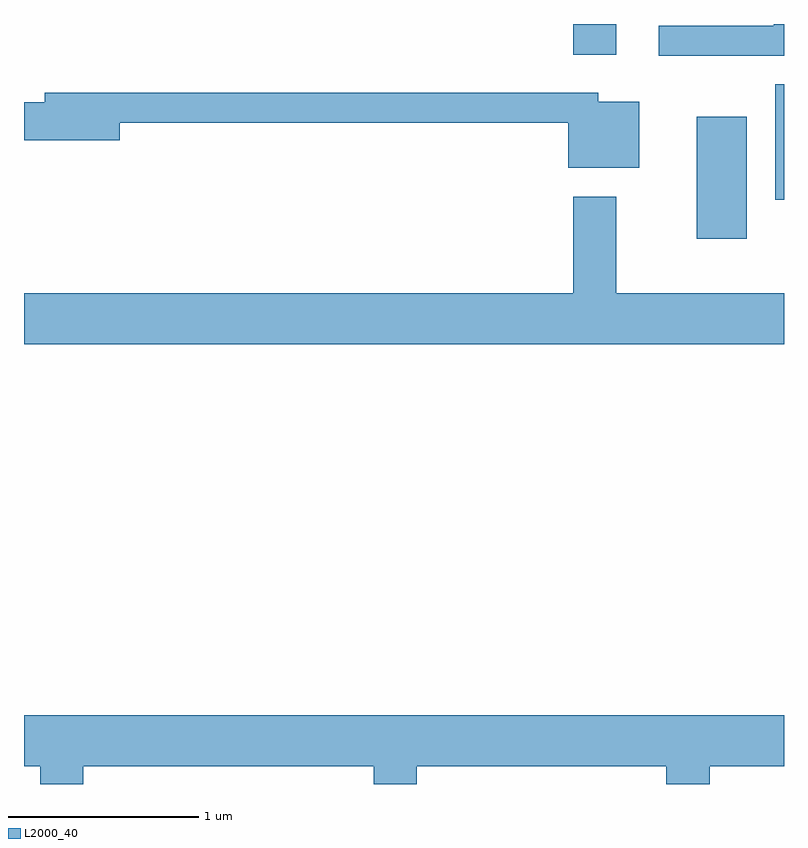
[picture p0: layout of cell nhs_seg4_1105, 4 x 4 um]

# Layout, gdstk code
import gdstk
lib = gdstk.Library(unit=1e-6, precision=1e-09)
def R(c, l, rs):  # rectangles x0, y0, x1, y1
    for r in rs: c.add(gdstk.rectangle(r[:2], r[2:], *l))
def P(c, l, *ps):  # polygons
    for p in ps: c.add(gdstk.Polygon(p, *l))
L2000_40 = (2000, 40)

nhs_seg4_1105 = lib.new_cell('nhs_seg4_1105')
R(nhs_seg4_1105, L2000_40, [(221.151,1290.851,221.414,1291.494), (221.566,1291.056,221.611,1291.664), (220.501,1291.821,220.729,1291.982)])
P(nhs_seg4_1105, L2000_40, [(221.611,1291.982),(221.556,1291.982),(221.556,1291.974),(220.953,1291.974),(220.953,1291.816),(221.611,1291.816)],
  [(220.849,1291.574),(220.634,1291.574),(220.634,1291.619),(217.721,1291.619),(217.721,1291.569),(217.611,1291.569),(217.611,1291.371),(218.114,1291.371),(218.114,1291.461),(220.476,1291.461),(220.476,1291.226),(220.849,1291.226)],
  [(221.611,1290.564),(220.729,1290.564),(220.729,1291.074),(220.501,1291.074),(220.501,1290.564),(217.611,1290.564),(217.611,1290.296),(221.611,1290.296)],
  [(217.924,1288.076),(219.451,1288.076),(219.451,1287.982),(219.679,1287.982),(219.679,1288.076),(220.991,1288.076),(220.991,1287.982),(221.219,1287.982),(221.219,1288.076),(221.611,1288.076),(221.611,1288.344),(217.611,1288.344),(217.611,1288.076),(217.696,1288.076),(217.696,1287.982),(217.924,1287.982)])

lib.write_gds('nhs_seg4_1105.gds')
